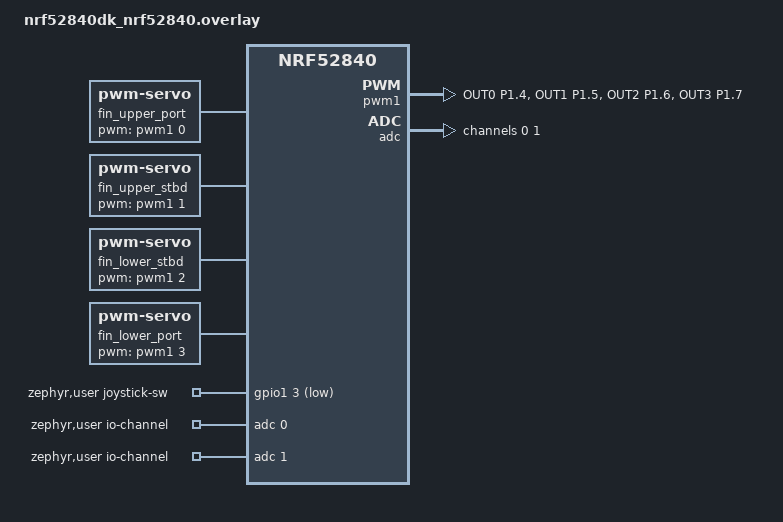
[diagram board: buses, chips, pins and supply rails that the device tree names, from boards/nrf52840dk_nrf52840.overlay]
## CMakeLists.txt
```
cmake_minimum_required(VERSION 3.20.0)

find_package(Zephyr REQUIRED HINTS $ENV{ZEPHYR_BASE})

project(potentiometer_joystick_servo_testing)

target_sources(app PRIVATE
    src/main.c
    src/control.c
    src/display.c
    src/fins.c
    src/joystick.c
    src/panel.c
)
```

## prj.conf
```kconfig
# Logging configurations
CONFIG_LOG=y
CONFIG_STDOUT_CONSOLE=y
CONFIG_PRINTK=y

# The status panel prints directly, not through the log queue
CONFIG_LOG_PRINTK=n
CONFIG_LOG_BACKEND_SHOW_TIMESTAMP=n

# Servo outputs
CONFIG_PWM=y

# Joystick axes and push switch
CONFIG_ADC=y
CONFIG_GPIO=y

# DK Buttons and LEDs library
CONFIG_DK_LIBRARY=y
```

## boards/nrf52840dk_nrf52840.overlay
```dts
/*
 * Pin map (nRF52840 DK, Arduino header name in brackets):
 *
 *   Joystick VRx   P0.03 [A0]    yaw
 *   Joystick VRy   P0.04 [A1]    pitch
 *   Joystick SW    P1.03 [D2]    arm/disarm
 *   Upper port     P1.04 [D3]    pwm1 channel 0
 *   Upper stbd     P1.05 [D4]    pwm1 channel 1
 *   Lower stbd     P1.06 [D5]    pwm1 channel 2
 *   Lower port     P1.07 [D6]    pwm1 channel 3
 *
 * Fin names are as seen from the stern, looking forward (port = left).
 */

/ {
    fin_upper_port: fin_upper_port {
        compatible = "pwm-servo";
        pwms = <&pwm1 0 PWM_MSEC(20) PWM_POLARITY_NORMAL>;
        min-pulse = <PWM_USEC(500)>;
        max-pulse = <PWM_USEC(2500)>;
    };

    fin_upper_stbd: fin_upper_stbd {
        compatible = "pwm-servo";
        pwms = <&pwm1 1 PWM_MSEC(20) PWM_POLARITY_NORMAL>;
        min-pulse = <PWM_USEC(500)>;
        max-pulse = <PWM_USEC(2500)>;
    };

    fin_lower_stbd: fin_lower_stbd {
        compatible = "pwm-servo";
        pwms = <&pwm1 2 PWM_MSEC(20) PWM_POLARITY_NORMAL>;
        min-pulse = <PWM_USEC(500)>;
        max-pulse = <PWM_USEC(2500)>;
    };

    fin_lower_port: fin_lower_port {
        compatible = "pwm-servo";
        pwms = <&pwm1 3 PWM_MSEC(20) PWM_POLARITY_NORMAL>;
        min-pulse = <PWM_USEC(500)>;
        max-pulse = <PWM_USEC(2500)>;
    };

    zephyr,user {
        io-channels = <&adc 0>, <&adc 1>;
        joystick-sw-gpios = <&gpio1 3 (GPIO_PULL_UP | GPIO_ACTIVE_LOW)>;
    };
};

/*
 * All four servos share pwm1. One instance has four channels with one common
 * period, which suits servos all running at 20 ms.
 *
 * Unlike servo_testing, these pins do not set nordic,invert: that makes a pin
 * idle high, and the signal line should sit low until the first pulse.
 */
&pwm1 {
    status = "okay";
    pinctrl-0 = <&pwm1_fins_default>;
    pinctrl-1 = <&pwm1_fins_sleep>;
    pinctrl-names = "default", "sleep";
};

&pinctrl {
    pwm1_fins_default: pwm1_fins_default {
        group1 {
            psels = <NRF_PSEL(PWM_OUT0, 1, 4)>,
                    <NRF_PSEL(PWM_OUT1, 1, 5)>,
                    <NRF_PSEL(PWM_OUT2, 1, 6)>,
                    <NRF_PSEL(PWM_OUT3, 1, 7)>;
        };
    };

    pwm1_fins_sleep: pwm1_fins_sleep {
        group1 {
            psels = <NRF_PSEL(PWM_OUT0, 1, 4)>,
                    <NRF_PSEL(PWM_OUT1, 1, 5)>,
                    <NRF_PSEL(PWM_OUT2, 1, 6)>,
                    <NRF_PSEL(PWM_OUT3, 1, 7)>;
            low-power-enable;
        };
    };
};

/* pwm0 would otherwise claim P0.13, which LED1 needs as the armed indicator. */
&pwm0 {
    status = "disabled";
};

/*
 * VDD/4 reference with 1/4 gain makes full scale equal to VDD, so a pot powered
 * from VDD reads the same regardless of the exact supply voltage.
 */
&adc {
    #address-cells = <1>;
    #size-cells = <0>;
    status = "okay";

    channel@0 {
        reg = <0>;
        zephyr,gain = "ADC_GAIN_1_4";
        zephyr,reference = "ADC_REF_VDD_1_4";
        zephyr,acquisition-time = <ADC_ACQ_TIME_DEFAULT>;
        zephyr,input-positive = <NRF_SAADC_AIN1>; /* P0.03 */
        zephyr,resolution = <12>;
        zephyr,oversampling = <4>;
    };

    channel@1 {
        reg = <1>;
        zephyr,gain = "ADC_GAIN_1_4";
        zephyr,reference = "ADC_REF_VDD_1_4";
        zephyr,acquisition-time = <ADC_ACQ_TIME_DEFAULT>;
        zephyr,input-positive = <NRF_SAADC_AIN2>; /* P0.04 */
        zephyr,resolution = <12>;
        zephyr,oversampling = <4>;
    };
};
```

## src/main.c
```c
#include <zephyr/kernel.h>
#include <zephyr/logging/log.h>
#include <zephyr/sys/atomic.h>
#include <dk_buttons_and_leds.h>

#include "control.h"
#include "display.h"
#include "fins.h"
#include "joystick.h"

LOG_MODULE_REGISTER(main, LOG_LEVEL_INF);

#define LOOP_PERIOD_MS      20
#define IDENTIFY_MS         1000
#define ARMED_LED           DK_LED1

static atomic_t identify_request = ATOMIC_INIT(FIN_NONE);
static struct panel_state panel = { .test_fin = FIN_NONE };


/*
 * Buttons 1-4 pick one fin to deflect. The move itself happens in the main
 * loop, since this handler runs on the system workqueue and must not block.
 */
static void button_handler(uint32_t button_state, uint32_t has_changed)
{
    static const uint32_t masks[FIN_COUNT] = {
        [FIN_UPPER_PORT] = DK_BTN1_MSK,
        [FIN_UPPER_STBD] = DK_BTN2_MSK,
        [FIN_LOWER_STBD] = DK_BTN3_MSK,
        [FIN_LOWER_PORT] = DK_BTN4_MSK,
    };
    uint32_t pressed = button_state & has_changed;

    for (int i = 0; i < FIN_COUNT; i++) {
        if (pressed & masks[i]) {
            atomic_set(&identify_request, i);
        }
    }
}


static void report_event(const char *event)
{
    panel.event = event;
    panel.event_s = k_uptime_get() / MSEC_PER_SEC;
}


static void set_armed(bool armed)
{
    panel.armed = armed;
    dk_set_led(ARMED_LED, armed);
    report_event(armed ? "Armed" : "Disarmed");
}


int main(void)
{
    bool was_pressed = false;
    bool joystick_ok = true;
    bool fins_ok = true;
    int64_t identify_until = 0;

    LOG_INF("X-rudder joystick servo test starting");

    if (dk_leds_init()) {
        LOG_ERR("Failed to initialize the LEDs library");
    }

    if (dk_buttons_init(button_handler)) {
        LOG_ERR("Failed to initialize the buttons library");
    }

    // Servos first, so they are holding neutral even if the joystick check fails
    if (fins_init() != 0) {
        LOG_ERR("Servo initialization failed");
        return 0;
    }

    if (joystick_init() != 0) {
        LOG_ERR("Joystick initialization failed. Fix it and reset, fins stay at neutral");
        return 0;
    }

    report_event("Ready");
    display_start();

    while (true) {
        struct joystick_state joy;
        int err = joystick_read(&joy);
        int64_t now = k_uptime_get();

        if ((err == 0) != joystick_ok) {
            joystick_ok = (err == 0);
            report_event(joystick_ok ? "Joystick read recovered" : "Joystick read failed");
        }

        if (!joystick_ok && panel.armed) {
            set_armed(false);
        }

        if (joy.pressed && !was_pressed) {
            panel.test_fin = FIN_NONE;
            set_armed(!panel.armed);
        }
        was_pressed = joy.pressed;

        int request = atomic_set(&identify_request, FIN_NONE);

        if (request != FIN_NONE) {
            if (panel.armed) {
                report_event("Disarm to test one fin");
            } else {
                panel.test_fin = request;
                identify_until = now + IDENTIFY_MS;
                report_event("Testing one fin for 1 s");
            }
        }

        if (panel.armed) {
            int pair_a;
            int pair_b;

            control_mix_x(joy.pitch, joy.yaw, &pair_a, &pair_b);
            fins_set_pair_targets(pair_a, pair_b);
        } else if (panel.test_fin != FIN_NONE && now < identify_until) {
            fins_set_single_target(panel.test_fin, CONTROL_FULL_SCALE);
        } else {
            panel.test_fin = FIN_NONE;
            fins_set_pair_targets(0, 0);
        }

        // On failure the next loop tries again
        err = fins_update();

        if ((err == 0) != fins_ok) {
            fins_ok = (err == 0);
            report_event(fins_ok ? "Servo output recovered" : "Servo output error");
        }

        panel.pitch = joy.pitch;
        panel.yaw = joy.yaw;
        panel.raw_x = joy.raw_x;
        panel.raw_y = joy.raw_y;
        panel.center_x = joy.center_x;
        panel.center_y = joy.center_y;
        panel.uptime_s = now / MSEC_PER_SEC;

        for (int i = 0; i < FIN_COUNT; i++) {
            panel.fin_command[i] = fins_command(i);
            panel.fin_pulse_us[i] = fins_pulse_us(i);
        }

        display_update(&panel);

        k_msleep(LOOP_PERIOD_MS);
    }

    return 0;
}
```

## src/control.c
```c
#include <stdlib.h>

#include "control.h"

/*
 * Convert a raw ADC reading to a stick axis.
 *
 * Each side of the centre is scaled separately because these pots rarely
 * centre at mid-scale. Output restarts from zero at the edge of the deadband
 * so there is no jump when the stick leaves it.
 */
int control_axis_from_adc(int raw, int raw_min, int raw_center, int raw_max, int deadband)
{
    int value;

    if (raw >= raw_center) {
        int span = raw_max - raw_center;

        value = (span > 0) ? (raw - raw_center) * CONTROL_FULL_SCALE / span : 0;
    } else {
        int span = raw_center - raw_min;

        value = (span > 0) ? (raw - raw_center) * CONTROL_FULL_SCALE / span : 0;
    }

    if (value > CONTROL_FULL_SCALE) {
        value = CONTROL_FULL_SCALE;
    } else if (value < -CONTROL_FULL_SCALE) {
        value = -CONTROL_FULL_SCALE;
    }

    if (abs(value) <= deadband) {
        return 0;
    }

    int outside = (value > 0) ? value - deadband : value + deadband;

    return outside * CONTROL_FULL_SCALE / (CONTROL_FULL_SCALE - deadband);
}

/*
 * X-rudder mix, matching the two-pushrod linkage this rig is modelled on.
 *
 * Each diagonal pair behaves like one rigid through-shaft, so its trailing
 * edges swing along a line at 45 degrees to the hull:
 *
 *   pair A (upper port, lower stbd): positive = up and to starboard
 *   pair B (upper stbd, lower port): positive = down and to starboard
 *
 * Dive needs every trailing edge down, right needs every one to starboard. The
 * sideways parts cancel on a dive and the vertical parts cancel on a turn.
 *
 * pitch + yaw can exceed the fin range. Both pairs are scaled down together
 * when they do, which keeps the commanded direction instead of flattening it.
 */
void control_mix_x(int pitch, int yaw, int *pair_a, int *pair_b)
{
    int a = yaw - pitch;
    int b = yaw + pitch;
    int peak = (abs(a) > abs(b)) ? abs(a) : abs(b);

    if (peak > CONTROL_FULL_SCALE) {
        a = a * CONTROL_FULL_SCALE / peak;
        b = b * CONTROL_FULL_SCALE / peak;
    }

    *pair_a = a;
    *pair_b = b;
}

int control_slew(int current, int target, int max_step)
{
    if (target > current + max_step) {
        return current + max_step;
    }
    if (target < current - max_step) {
        return current - max_step;
    }
    return target;
}
```

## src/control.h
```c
#ifndef CONTROL_H
#define CONTROL_H

// Stick axes and fin commands both run from -CONTROL_FULL_SCALE to +CONTROL_FULL_SCALE
#define CONTROL_FULL_SCALE 1000

// Convert a raw ADC reading to a stick axis, applying the centre deadband
int control_axis_from_adc(int raw, int raw_min, int raw_center, int raw_max, int deadband);

// Mix pitch (+dive) and yaw (+right) into the two diagonal fin pairs
void control_mix_x(int pitch, int yaw, int *pair_a, int *pair_b);

// Move current towards target by at most max_step
int control_slew(int current, int target, int max_step);

#endif
```

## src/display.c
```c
#include <zephyr/kernel.h>
#include <zephyr/sys/printk.h>

#include <string.h>

#include "display.h"

#define DISPLAY_STACK_SIZE      2048
#define DISPLAY_PRIORITY        K_PRIO_PREEMPT(10)
#define DISPLAY_PERIOD_MS       100

// Redraw everything now and then so a terminal opened after boot still gets the panel
#define DISPLAY_FULL_EVERY      20

// Gives boot messages time to print before the screen is cleared
#define DISPLAY_START_DELAY_MS  100

#define HIDE_CURSOR             "\x1b[?25l"
#define CLEAR_SCREEN            "\x1b[2J"

K_THREAD_STACK_DEFINE(display_stack, DISPLAY_STACK_SIZE);
K_MUTEX_DEFINE(display_lock);

static struct k_thread display_thread_data;
static struct panel_state latest;
static char rendered[PANEL_ROWS][PANEL_LINE_BYTES];
static char shown[PANEL_ROWS][PANEL_LINE_BYTES];


/*
 * printk busy-waits on the UART, which at 115200 baud is far slower than the
 * 20 ms control loop. Drawing in a low priority thread lets that loop preempt it,
 * and only sending rows that changed keeps the traffic small.
 */
static void display_thread(void *arg1, void *arg2, void *arg3)
{
    uint32_t frames = 0;

    ARG_UNUSED(arg1);
    ARG_UNUSED(arg2);
    ARG_UNUSED(arg3);

    k_msleep(DISPLAY_START_DELAY_MS);
    printk(HIDE_CURSOR CLEAR_SCREEN);

    while (true) {
        struct panel_state snapshot;

        k_mutex_lock(&display_lock, K_FOREVER);
        snapshot = latest;
        k_mutex_unlock(&display_lock);

        panel_render(&snapshot, rendered);

        bool draw_all = (frames++ % DISPLAY_FULL_EVERY) == 0;
        bool drew = false;

        for (int row = 0; row < PANEL_ROWS; row++) {
            if (draw_all || strcmp(rendered[row], shown[row]) != 0) {
                printk("\x1b[%d;1H%s", row + 1, rendered[row]);
                strcpy(shown[row], rendered[row]);
                drew = true;
            }
        }

        // Leave the cursor under the panel so any error log prints below it
        if (drew) {
            printk("\x1b[%d;1H", PANEL_ROWS + 1);
        }

        k_msleep(DISPLAY_PERIOD_MS);
    }
}


void display_start(void)
{
    k_thread_create(&display_thread_data, display_stack,
                    K_THREAD_STACK_SIZEOF(display_stack),
                    display_thread, NULL, NULL, NULL,
                    DISPLAY_PRIORITY, 0, K_NO_WAIT);
}


void display_update(const struct panel_state *state)
{
    k_mutex_lock(&display_lock, K_FOREVER);
    latest = *state;
    k_mutex_unlock(&display_lock);
}
```

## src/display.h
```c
#ifndef DISPLAY_H
#define DISPLAY_H

#include "panel.h"

// Clear the terminal and start drawing the status panel
void display_start(void);

// Give the panel new values. Safe to call from the control loop, it never waits on the UART.
void display_update(const struct panel_state *state);

#endif
```

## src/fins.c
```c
#include <zephyr/kernel.h>
#include <zephyr/logging/log.h>
#include <zephyr/device.h>
#include <zephyr/drivers/pwm.h>

#include <errno.h>
#include <stdbool.h>

#include "control.h"
#include "fins.h"

LOG_MODULE_REGISTER(fins, LOG_LEVEL_INF);

#define SERVO_CENTER_US     1500

/*
 * Pulse change at full fin command. The SER0062 covers 180 degrees across
 * 500-2500 us (11.1 us per degree), so 333 us is about +/-30 degrees at the
 * servo. Check for binding before raising this with linkages attached.
 */
#define FIN_TRAVEL_US       333

/*
 * Largest command change per 20 ms loop: 60 is about 90 degrees per second.
 * Well under the servo's top speed, which limits the current drawn by four
 * high-torque servos all starting at once.
 */
#define FIN_SLEW_PER_LOOP   60

#define FIN_STARTUP_GAP_MS  300

enum fin_pair {
    PAIR_A,     // Upper port + lower stbd, positive = trailing edge up and to starboard
    PAIR_B,     // Upper stbd + lower port, positive = trailing edge down and to starboard
};

struct fin {
    const char *name;
    struct pwm_dt_spec pwm;
    uint32_t min_pulse_ns;
    uint32_t max_pulse_ns;
    enum fin_pair pair;
    bool reversed;
    int trim_us;
};

#define FIN(node_label, fin_pair, is_reversed, trim)                       \
    {                                                                      \
        .name = #node_label,                                               \
        .pwm = PWM_DT_SPEC_GET(DT_NODELABEL(node_label)),                  \
        .min_pulse_ns = DT_PROP(DT_NODELABEL(node_label), min_pulse),      \
        .max_pulse_ns = DT_PROP(DT_NODELABEL(node_label), max_pulse),      \
        .pair = fin_pair,                                                  \
        .reversed = is_reversed,                                           \
        .trim_us = trim,                                                   \
    }

/*
 * Per-fin setup: reversed and trim_us are the values to tune on the bench.
 *
 * The lower fins start reversed because four servos mounted identically with
 * their shafts pointing outward all turn the same way around the hull, while
 * each pair has to act as one through-shaft, so opposite fins must turn opposite
 * ways as seen from outboard. If everything is backwards, flip all four.
 */
static const struct fin fins[FIN_COUNT] = {
    [FIN_UPPER_PORT] = FIN(fin_upper_port, PAIR_A, false, 0),
    [FIN_UPPER_STBD] = FIN(fin_upper_stbd, PAIR_B, false, 0),
    [FIN_LOWER_STBD] = FIN(fin_lower_stbd, PAIR_A, true, 0),
    [FIN_LOWER_PORT] = FIN(fin_lower_port, PAIR_B, true, 0),
};

static int commands[FIN_COUNT];
static int targets[FIN_COUNT];
static uint32_t written_ns[FIN_COUNT];


static uint32_t pulse_ns_for(const struct fin *fin, int command)
{
    int offset_us = command * FIN_TRAVEL_US / CONTROL_FULL_SCALE;

    if (fin->reversed) {
        offset_us = -offset_us;
    }

    uint32_t pulse_ns = PWM_USEC(SERVO_CENTER_US + fin->trim_us + offset_us);

    return CLAMP(pulse_ns, fin->min_pulse_ns, fin->max_pulse_ns);
}


static int write_fin(enum fin_id id, int command)
{
    uint32_t pulse_ns = pulse_ns_for(&fins[id], command);

    if (pulse_ns == written_ns[id]) {
        return 0;
    }

    int err = pwm_set_pulse_dt(&fins[id].pwm, pulse_ns);

    if (err != 0) {
        LOG_ERR("Failed to set %s: %d", fins[id].name, err);
        return err;
    }

    written_ns[id] = pulse_ns;

    return 0;
}


int fins_init(void)
{
    for (int i = 0; i < FIN_COUNT; i++) {
        if (!pwm_is_ready_dt(&fins[i].pwm)) {
            LOG_ERR("PWM device %s is not ready", fins[i].pwm.dev->name);
            return -ENODEV;
        }
    }

    /*
     * A servo jumps straight to the first position it is sent. Staggering them
     * stops all four from pulling peak current together at power up.
     */
    for (int i = 0; i < FIN_COUNT; i++) {
        int err = write_fin(i, 0);

        if (err != 0) {
            return err;
        }

        k_msleep(FIN_STARTUP_GAP_MS);
    }

    return 0;
}


void fins_set_pair_targets(int pair_a, int pair_b)
{
    for (int i = 0; i < FIN_COUNT; i++) {
        targets[i] = (fins[i].pair == PAIR_A) ? pair_a : pair_b;
    }
}


void fins_set_single_target(enum fin_id fin, int command)
{
    for (int i = 0; i < FIN_COUNT; i++) {
        targets[i] = (i == fin) ? command : 0;
    }
}


int fins_update(void)
{
    int result = 0;

    for (int i = 0; i < FIN_COUNT; i++) {
        commands[i] = control_slew(commands[i], targets[i], FIN_SLEW_PER_LOOP);

        int err = write_fin(i, commands[i]);

        if (err != 0) {
            result = err;
        }
    }

    return result;
}


int fins_command(enum fin_id fin)
{
    return commands[fin];
}


int fins_pulse_us(enum fin_id fin)
{
    return written_ns[fin] / NSEC_PER_USEC;
}
```

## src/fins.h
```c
#ifndef FINS_H
#define FINS_H

// Fins as seen from the stern, looking forward, clockwise from upper left
enum fin_id {
    FIN_UPPER_PORT,
    FIN_UPPER_STBD,
    FIN_LOWER_STBD,
    FIN_LOWER_PORT,
    FIN_COUNT,
};

#define FIN_NONE -1

// Check the PWM device and bring each servo to neutral, one at a time
int fins_init(void);

// Set targets for the two diagonal pairs, from control_mix_x()
void fins_set_pair_targets(int pair_a, int pair_b);

// Set one fin's target and return the other three to neutral
void fins_set_single_target(enum fin_id fin, int command);

// Step every fin towards its target and write the PWM outputs. Call every loop.
int fins_update(void);

// Current command of a fin, after the speed limit and before reversing
int fins_command(enum fin_id fin);

// Current pulse width of a fin in microseconds
int fins_pulse_us(enum fin_id fin);

#endif
```

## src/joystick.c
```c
#include <zephyr/kernel.h>
#include <zephyr/logging/log.h>
#include <zephyr/device.h>
#include <zephyr/drivers/adc.h>
#include <zephyr/drivers/gpio.h>

#include <errno.h>

#include "control.h"
#include "joystick.h"

LOG_MODULE_REGISTER(joystick, LOG_LEVEL_INF);

// Flip these if a stick direction comes out backwards for how your module is mounted
#define JOY_INVERT_PITCH    false
#define JOY_INVERT_YAW      false

#define JOY_RAW_MAX         4095    // 12-bit ADC, see the overlay
#define JOY_RAIL_MARGIN     100     // Treat readings this close to the rails as full stick
#define JOY_DEADBAND        80      // 8% of full scale around the centre

#define JOY_CAL_SAMPLES     32
#define JOY_CENTER_MIN      (JOY_RAW_MAX / 4)
#define JOY_CENTER_MAX      (JOY_RAW_MAX * 3 / 4)

#define ZEPHYR_USER DT_PATH(zephyr_user)

static const struct adc_dt_spec axis_x = ADC_DT_SPEC_GET_BY_IDX(ZEPHYR_USER, 0);
static const struct adc_dt_spec axis_y = ADC_DT_SPEC_GET_BY_IDX(ZEPHYR_USER, 1);
static const struct gpio_dt_spec sw = GPIO_DT_SPEC_GET(ZEPHYR_USER, joystick_sw_gpios);

static int center_x;
static int center_y;
static bool sw_previous;
static bool sw_debounced;


static int read_raw(const struct adc_dt_spec *axis, int *raw)
{
    int16_t sample;
    struct adc_sequence sequence = {
        .buffer = &sample,
        .buffer_size = sizeof(sample),
    };

    int err = adc_sequence_init_dt(axis, &sequence);

    if (err == 0) {
        err = adc_read_dt(axis, &sequence);
    }
    if (err != 0) {
        return err;
    }

    *raw = sample;

    return 0;
}


static int setup_axis(const struct adc_dt_spec *axis)
{
    if (!adc_is_ready_dt(axis)) {
        LOG_ERR("ADC device not ready");
        return -ENODEV;
    }

    return adc_channel_setup_dt(axis);
}


/*
 * Average the resting position of one axis and sanity check it. A centre far
 * from mid-scale means a stick being held, a floating wire, or the module
 * powered from 5 V instead of VDD.
 */
static int calibrate_axis(const struct adc_dt_spec *axis, const char *name, int *center)
{
    int sum = 0;

    for (int i = 0; i < JOY_CAL_SAMPLES; i++) {
        int raw;
        int err = read_raw(axis, &raw);

        if (err != 0) {
            return err;
        }

        sum += raw;
        k_msleep(5);
    }

    *center = sum / JOY_CAL_SAMPLES;

    LOG_INF("%s centre: %d", name, *center);

    if (*center < JOY_CENTER_MIN || *center > JOY_CENTER_MAX) {
        LOG_ERR("%s centre outside %d-%d. Check wiring, supply is VDD not 5 V, "
                "and stick is released", name, JOY_CENTER_MIN, JOY_CENTER_MAX);
        return -EIO;
    }

    return 0;
}


int joystick_init(void)
{
    int err = setup_axis(&axis_x);

    if (err == 0) {
        err = setup_axis(&axis_y);
    }
    if (err != 0) {
        return err;
    }

    if (!gpio_is_ready_dt(&sw)) {
        LOG_ERR("Joystick switch GPIO not ready");
        return -ENODEV;
    }

    err = gpio_pin_configure_dt(&sw, GPIO_INPUT);
    if (err != 0) {
        return err;
    }

    err = calibrate_axis(&axis_x, "VRx", &center_x);
    if (err != 0) {
        return err;
    }

    return calibrate_axis(&axis_y, "VRy", &center_y);
}


int joystick_read(struct joystick_state *state)
{
    *state = (struct joystick_state){
        .center_x = center_x,
        .center_y = center_y,
    };

    int raw_x;
    int raw_y;
    int err = read_raw(&axis_x, &raw_x);

    if (err == 0) {
        err = read_raw(&axis_y, &raw_y);
    }
    if (err != 0) {
        return err;
    }

    int sw_now = gpio_pin_get_dt(&sw);

    if (sw_now < 0) {
        return sw_now;
    }

    // Polling every 20 ms, so two matching reads are enough to reject bounce
    if ((sw_now != 0) == sw_previous) {
        sw_debounced = sw_previous;
    }
    sw_previous = (sw_now != 0);

    int yaw = control_axis_from_adc(raw_x, JOY_RAIL_MARGIN, center_x,
                                    JOY_RAW_MAX - JOY_RAIL_MARGIN, JOY_DEADBAND);
    int pitch = control_axis_from_adc(raw_y, JOY_RAIL_MARGIN, center_y,
                                      JOY_RAW_MAX - JOY_RAIL_MARGIN, JOY_DEADBAND);

    state->raw_x = raw_x;
    state->raw_y = raw_y;
    state->yaw = JOY_INVERT_YAW ? -yaw : yaw;
    state->pitch = JOY_INVERT_PITCH ? -pitch : pitch;
    state->pressed = sw_debounced;

    return 0;
}
```

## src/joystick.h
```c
#ifndef JOYSTICK_H
#define JOYSTICK_H

#include <stdbool.h>

struct joystick_state {
    int raw_x;
    int raw_y;
    int center_x;   // Resting readings from calibration
    int center_y;
    int pitch;      // +dive (stick forward), -surface
    int yaw;        // +right, -left
    bool pressed;   // Debounced push switch
};

// Set up the ADC and switch, then calibrate the centre. Leave the stick untouched.
int joystick_init(void);

// Read the stick. On error the axes are zero and the switch reads released.
int joystick_read(struct joystick_state *state);

#endif
```

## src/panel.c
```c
#include <stdio.h>
#include <stdlib.h>
#include <string.h>

#include "control.h"
#include "panel.h"

#define RESET       "\x1b[0m"
#define BOLD        "\x1b[1m"
#define DIM         "\x1b[2m"
#define RED         "\x1b[91m"
#define GREEN       "\x1b[92m"
#define YELLOW      "\x1b[93m"
#define WHITE       "\x1b[97m"

// Same colours as the two pairs in the X-rudder video
#define PAIR_A_COLOR "\x1b[36m"
#define PAIR_B_COLOR "\x1b[94m"

#define RULE_10     "──────────"
#define RULE        RULE_10 RULE_10 RULE_10 RULE_10 RULE_10 "────────"

// Clear the rest of the row, then draw the right border in the last column
#define ROW_END     "\x1b[K\x1b[60G│"

#define PANEL_LAST_RULE_COLUMN 58

#define BAR_HALF    12      // Cells each side of the centre mark
#define BAR_BYTES   160

static const char *const fin_labels[FIN_COUNT] = {
    [FIN_UPPER_PORT] = "Upper port",
    [FIN_UPPER_STBD] = "Upper stbd",
    [FIN_LOWER_STBD] = "Lower stbd",
    [FIN_LOWER_PORT] = "Lower port",
};

// Matches the pair each fin is assigned to in fins.c
static const bool fin_is_pair_a[FIN_COUNT] = {
    [FIN_UPPER_PORT] = true,
    [FIN_UPPER_STBD] = false,
    [FIN_LOWER_STBD] = true,
    [FIN_LOWER_PORT] = false,
};


/*
 * Draw a command as a bar growing out from a centre mark, for example
 * ──────────┼██████────
 */
static void render_bar(char *out, int value, const char *color)
{
    int filled = (abs(value) * BAR_HALF + CONTROL_FULL_SCALE / 2) / CONTROL_FULL_SCALE;

    // Any movement off centre should be visible, however small
    if (value != 0 && filled == 0) {
        filled = 1;
    }

    int first = (value < 0) ? BAR_HALF - filled : BAR_HALF + 1;
    int last = (value < 0) ? BAR_HALF - 1 : BAR_HALF + filled;
    bool was_filled = false;

    strcpy(out, DIM);

    for (int i = 0; i <= 2 * BAR_HALF; i++) {
        bool is_filled = (i >= first && i <= last);

        if (is_filled != was_filled) {
            strcat(out, RESET);
            strcat(out, is_filled ? color : DIM);
            was_filled = is_filled;
        }

        strcat(out, (i == BAR_HALF) ? "┼" : (is_filled ? "█" : "─"));
    }

    strcat(out, RESET);
}


static void render_stick_row(char *line, const char *name, const char *negative,
                             const char *positive, int value)
{
    char bar[BAR_BYTES];

    render_bar(bar, value, WHITE);
    snprintf(line, PANEL_LINE_BYTES, "│  %-5s  %7s %s %-5s %+5d" ROW_END,
             name, negative, bar, positive, value);
}


static void render_fin_row(char *line, const struct panel_state *state, enum fin_id fin)
{
    char bar[BAR_BYTES];
    const char *color = fin_is_pair_a[fin] ? PAIR_A_COLOR : PAIR_B_COLOR;

    render_bar(bar, state->fin_command[fin], color);
    snprintf(line, PANEL_LINE_BYTES, "│  %-10s  %s%c" RESET "  %s %+5d  %4d µs" ROW_END,
             fin_labels[fin], color, fin_is_pair_a[fin] ? 'A' : 'B', bar,
             state->fin_command[fin], state->fin_pulse_us[fin]);
}


static const char *command_text(int pitch, int yaw)
{
    if (pitch > 0) {
        return (yaw > 0) ? "DIVE + RIGHT" : (yaw < 0) ? "DIVE + LEFT" : "DIVE";
    }
    if (pitch < 0) {
        return (yaw > 0) ? "SURFACE + RIGHT" : (yaw < 0) ? "SURFACE + LEFT" : "SURFACE";
    }
    return (yaw > 0) ? "RIGHT" : (yaw < 0) ? "LEFT" : "NEUTRAL";
}


void panel_render(const struct panel_state *state, char lines[PANEL_ROWS][PANEL_LINE_BYTES])
{
    char status[32];
    const char *status_color;
    int row = 0;

    if (state->test_fin != FIN_NONE) {
        snprintf(status, sizeof(status), "TEST: %s", fin_labels[state->test_fin]);
        status_color = YELLOW;
    } else if (state->armed) {
        snprintf(status, sizeof(status), "ARMED");
        status_color = RED;
    } else {
        snprintf(status, sizeof(status), "DISARMED");
        status_color = GREEN;
    }

    // Status text is " ● NAME ", ending on the last rule column before the corner
    int status_column = PANEL_LAST_RULE_COLUMN - ((int)strlen(status) + 4) + 1;

    snprintf(lines[row++], PANEL_LINE_BYTES,
             "╭" RULE "╮\x1b[3G " BOLD "X-RUDDER BENCH TEST" RESET " \x1b[%dG %s● %s" RESET " ",
             status_column, status_color, status);

    render_stick_row(lines[row++], "Pitch", "SURFACE", "DIVE", state->pitch);
    render_stick_row(lines[row++], "Yaw", "LEFT", "RIGHT", state->yaw);

    snprintf(lines[row++], PANEL_LINE_BYTES, "├" RULE "┤");

    for (int i = 0; i < FIN_COUNT; i++) {
        render_fin_row(lines[row++], state, i);
    }

    snprintf(lines[row++], PANEL_LINE_BYTES, "├" RULE "┤");

    snprintf(lines[row++], PANEL_LINE_BYTES, "│  Command  " BOLD "%s" RESET "%s" ROW_END,
             command_text(state->pitch, state->yaw),
             state->armed ? "" : DIM "  (fins held)" RESET);

    snprintf(lines[row++], PANEL_LINE_BYTES,
             "│  ADC      x %4d " DIM "(rest %4d)" RESET "   y %4d " DIM "(rest %4d)" RESET ROW_END,
             state->raw_x, state->center_x, state->raw_y, state->center_y);

    snprintf(lines[row++], PANEL_LINE_BYTES,
             "│  Event    " DIM "%02u:%02u" RESET "  %s\x1b[K\x1b[48G" DIM "up %02u:%02u:%02u" RESET
             "\x1b[60G│",
             state->event_s / 60, state->event_s % 60, state->event,
             state->uptime_s / 3600, (state->uptime_s / 60) % 60, state->uptime_s % 60);

    snprintf(lines[row++], PANEL_LINE_BYTES, "╰" RULE "╯\x1b[3G " DIM "%s" RESET " ",
             state->armed ? "press stick to disarm"
                          : "press stick to arm · buttons 1-4 test one fin");
}
```

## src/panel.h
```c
#ifndef PANEL_H
#define PANEL_H

#include <stdbool.h>

#include "fins.h"

#define PANEL_ROWS          13
#define PANEL_LINE_BYTES    320

// Everything shown on the serial status panel
struct panel_state {
    bool armed;
    int test_fin;           // Fin being tested on its own, or FIN_NONE
    int pitch;
    int yaw;
    int raw_x;
    int raw_y;
    int center_x;
    int center_y;
    int fin_command[FIN_COUNT];
    int fin_pulse_us[FIN_COUNT];
    const char *event;      // Most recent event, must stay valid
    unsigned int event_s;   // Uptime when it happened
    unsigned int uptime_s;
};

// Format the panel into one string per row, including colours and cursor moves
void panel_render(const struct panel_state *state, char lines[PANEL_ROWS][PANEL_LINE_BYTES]);

#endif
```
